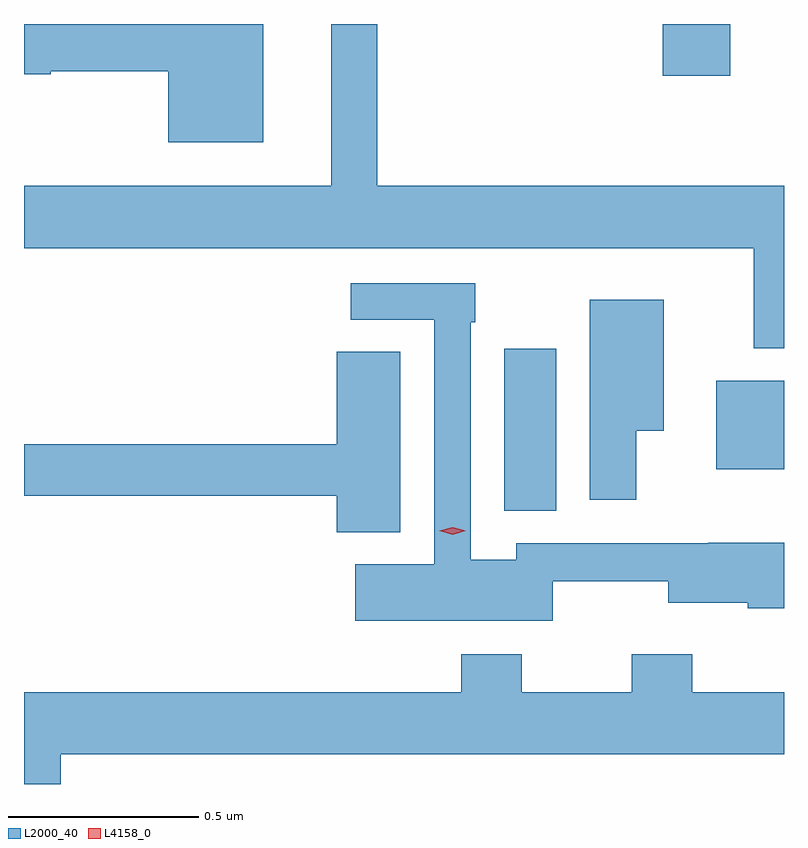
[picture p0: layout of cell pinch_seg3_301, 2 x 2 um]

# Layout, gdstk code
import gdstk
lib = gdstk.Library(unit=1e-6, precision=1e-09)
def R(c, l, rs):  # rectangles x0, y0, x1, y1
    for r in rs: c.add(gdstk.rectangle(r[:2], r[2:], *l))
def P(c, l, *ps):  # polygons
    for p in ps: c.add(gdstk.Polygon(p, *l))
L2000_40 = (2000, 40)
L4158_0 = (4158, 0)

pinch_seg3_301 = lib.new_cell('pinch_seg3_301')
R(pinch_seg3_301, L2000_40, [(977.657,718.873,977.794,719.299), (978.215,718.982,978.393,719.215), (978.074,720.018,978.252,720.154)])
P(pinch_seg3_301, L2000_40, [(978.393,719.728),(977.323,719.728),(977.323,720.154),(977.201,720.154),(977.201,719.728),(976.393,719.728),(976.393,719.564),(978.313,719.564),(978.313,719.301),(978.393,719.301)],
  [(977.023,720.154),(976.393,720.154),(976.393,720.022),(976.464,720.022),(976.464,720.03),(976.772,720.03),(976.772,719.843),(977.023,719.843)],
  [(977.784,718.687),(978.089,718.687),(978.089,718.631),(978.297,718.631),(978.297,718.616),(978.393,718.616),(978.393,718.789),(978.193,718.789),(978.193,718.788),(977.688,718.788),(977.688,718.744),(977.568,718.744),(977.568,719.369),(977.581,719.369),(977.581,719.472),(977.253,719.472),(977.253,719.376),(977.472,719.376),(977.472,718.732),(977.265,718.732),(977.265,718.583),(977.784,718.583)],
  [(978.004,719.084),(978.076,719.084),(978.076,719.428),(977.882,719.428),(977.882,718.902),(978.004,718.902)],
  [(977.383,719.291),(977.216,719.291),(977.216,719.048),(976.393,719.048),(976.393,718.912),(977.216,718.912),(977.216,718.817),(977.383,718.817)],
  [(976.49,718.232),(978.393,718.232),(978.393,718.396),(978.152,718.396),(978.152,718.495),(977.992,718.495),(977.992,718.396),(977.703,718.396),(977.703,718.495),(977.543,718.495),(977.543,718.396),(976.393,718.396),(976.393,718.154),(976.49,718.154)])
P(pinch_seg3_301, L4158_0, [(977.521,718.81),(977.486,718.82),(977.486,718.82),(977.486,718.821),(977.521,718.83),(977.555,718.821),(977.556,718.82),(977.555,718.82)])

lib.write_gds('pinch_seg3_301.gds')
